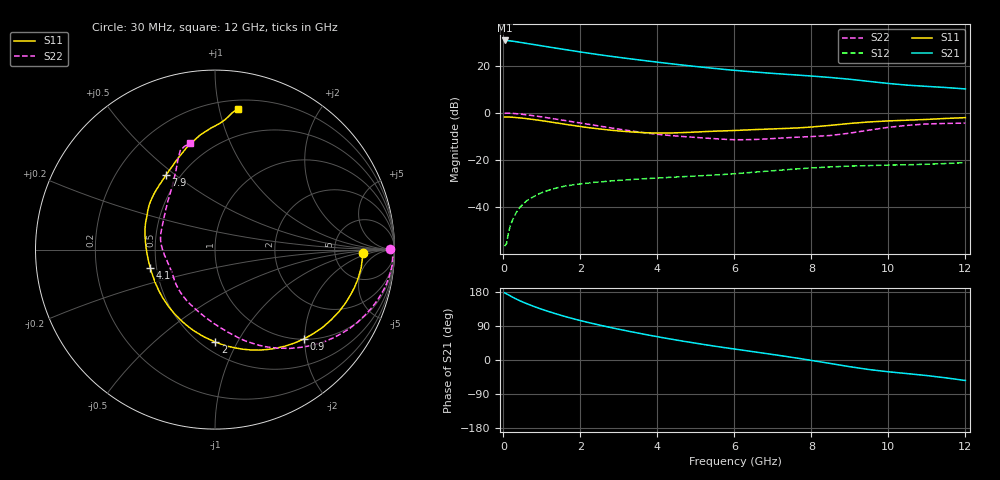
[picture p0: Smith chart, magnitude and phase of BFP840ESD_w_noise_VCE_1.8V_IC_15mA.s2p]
! Infineon Technologies  Discrete & RF Semiconductors
! BFP840ESD
! VCE =  1.8 V,  IC =  15 mA
! Common Emitter S-Parameters:  May 2012
# GHz  S  MA  R  50
!  f  S11  S21  S12  S22
! GHz  MAG  ANG  MAG  ANG  MAG  ANG  MAG  ANG
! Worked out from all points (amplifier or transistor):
!   93 points, 30 MHz to 12 GHz, reference 50 ohm
!   highest |S21| = 30.7 dB at 30 MHz (marker M1)
!   |S21| within 3 dB of that: start of sweep to 1.265 GHz
!   unconditionally stable (mu >= 1): 5.18 GHz to 8.68 GHz
!   at 1.1 GHz: K = 0.35, MSG = 30.7 dB, |S12| = -33.2 dB
!   at 4.2 GHz: K = 0.90, MSG = 24.3 dB, |S12| = -27.5 dB
!   at 12 GHz: K = 0.73, MSG = 15.6 dB, |S12| = -21.1 dB
!   lowest NFmin = 0.99 dB at 450 MHz
!   S11 on the Smith chart (normalised r, x): 30 MHz: 10, -1; 900 MHz: 1.01, -1.98; 2 GHz: 0.58, -0.82; 4.1 GHz: 0.46, -0.11; 7.9 GHz: 0.42, +0.46; 12 GHz: 0.27, +1.14
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0.03  0.8234 -1.4  34.38 177.3  0.0015 84.1  0.9777 0.3
0.13  0.8205 -7.1  34.01 171.9  0.0029 74.3  0.9911 -5.0
0.28  0.8049 -15.1  32.83 163.5  0.0064 79.1  0.973 -11.6
0.43  0.7844 -22.7  31.37 156.2  0.01 75.4  0.9473 -17.4
0.6  0.7569 -31.0  29.77 148.8  0.0137 71.3  0.9123 -23.6
0.9  0.7024 -45.1  27.24 137.3  0.0189 62.7  0.8462 -33.5
1.1  0.6653 -53.9  25.61 130.4  0.0219 58.0  0.8006 -39.6
1.4  0.6107 -66.5  23.38 120.8  0.026 52.8  0.7326 -47.8
1.7  0.5586 -78.5  21.41 112.0  0.0289 48.3  0.6683 -55.3
2  0.5152 -89.8  19.61 104.1  0.0314 43.8  0.6115 -62.3
2.1  0.5011 -93.5  19.08 101.5  0.0321 43.1  0.594 -64.4
2.6  0.4476 -111.6  16.65 89.8  0.035 38.2  0.5105 -74.8
3  0.4151 -125.9  15.06 81.1  0.0372 35.1  0.4539 -82.9
3.6  0.3838 -147.0  13.07 69.0  0.04 32.3  0.3865 -96.7
4.1  0.3744 -164.2  11.65 59.6  0.0421 30.1  0.3463 -109.2
5  0.3938 171.0  9.642 44.3  0.0461 27.2  0.3024 -131.0
6.1  0.4276 151.7  7.87 27.6  0.0521 25.3  0.2707 -155.9
7.9  0.4972 123.4  6.138 0.6  0.0674 16.3  0.3137 165.1
8.5  0.5461 112.6  5.631 -9.3  0.0717 11.9  0.333 149.3
9.5  0.645 97.2  4.658 -25.2  0.0766 3.7  0.4322 123.0
10.5  0.7021 88.0  3.875 -36.0  0.0798 -2.5  0.5463 112.1
12  0.795 80.9  3.225 -54.1  0.0882 -9.8  0.6087 103.1
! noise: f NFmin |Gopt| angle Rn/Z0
0.45  0.99  0.16  1  0.14
0.9  1  0.16  3  0.13
1.5  1.01  0.16  7  0.13
1.9  1.02  0.14  11  0.12
2.4  1.02  0.11  16  0.11
3.5  1.03  0.02  54  0.1
5.5  1.06  0.09  -130  0.11
8  1.17  0.3  -112  0.13
10  1.29  0.51  -80  0.23
12  1.5  0.63  -66  0.32
